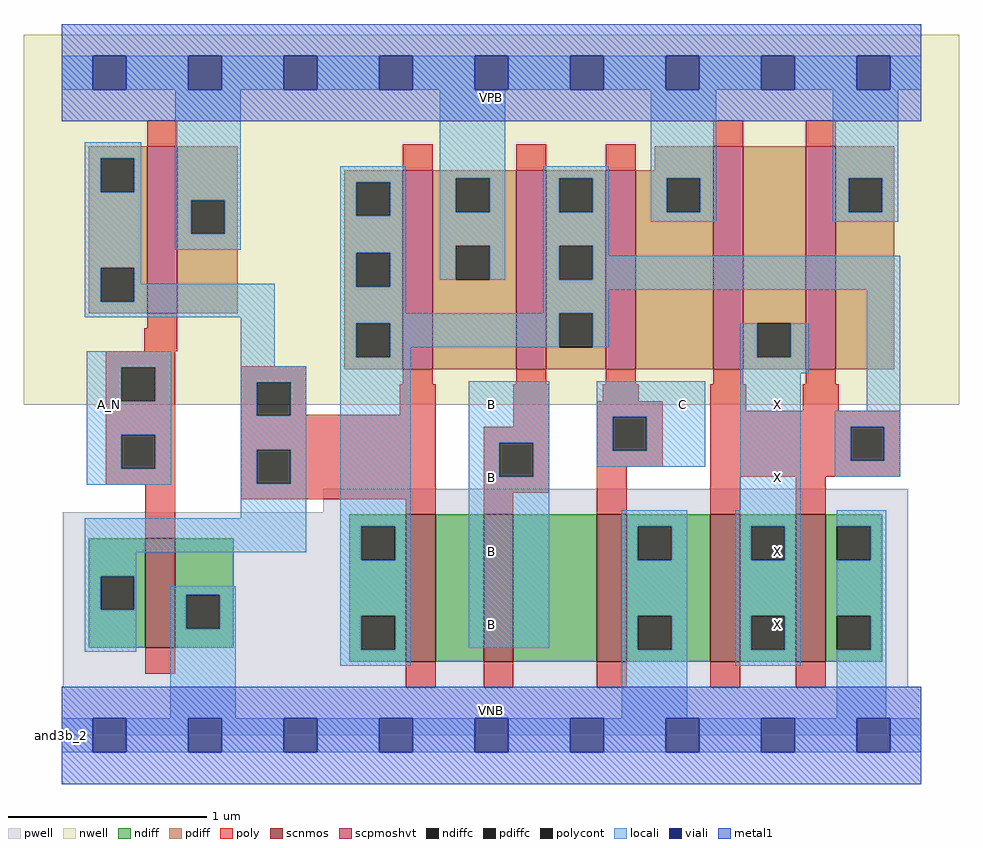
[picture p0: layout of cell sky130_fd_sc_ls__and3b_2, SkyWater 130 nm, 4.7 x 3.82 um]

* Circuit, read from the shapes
.subckt sky130_fd_sc_ls__and3b_2 A_N B C VGND VNB VPB VPWR X
XM1 VGND A_N n1 VNB sky130_fd_pr__nfet_01v8 w=0.55 l=0.15
XM2 n2 n1 n3 VNB sky130_fd_pr__nfet_01v8 w=0.74 l=0.15
XM3 n4 B n2 VNB sky130_fd_pr__nfet_01v8 w=0.74 l=0.15
XM4 VGND C n4 VNB sky130_fd_pr__nfet_01v8 w=0.74 l=0.15
XM5 X n3 VGND VNB sky130_fd_pr__nfet_01v8 w=0.74 l=0.15 m=2
XM6 VPWR A_N n1 VPB sky130_fd_pr__pfet_01v8_hvt w=0.84 l=0.15
XM7 VPWR n1 n3 VPB sky130_fd_pr__pfet_01v8_hvt w=1 l=0.15
XM8 n3 B VPWR VPB sky130_fd_pr__pfet_01v8_hvt w=1 l=0.15
XM9 VPWR C n3 VPB sky130_fd_pr__pfet_01v8_hvt w=1 l=0.15
XM10 X n3 VPWR VPB sky130_fd_pr__pfet_01v8_hvt w=1.12 l=0.15 m=2
.ends

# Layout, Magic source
magic
tech sky130A
magscale 1 2
<< nwell >>
rect -38 332 902 704
<< pwell >>
rect 263 224 851 248
rect 1 49 851 224
rect 0 0 864 49
<< scnmos >>
rect 84 88 114 198
rect 346 74 376 222
rect 424 74 454 222
rect 538 74 568 222
rect 652 74 682 222
rect 738 74 768 222
<< scpmoshvt >>
rect 86 424 116 592
rect 343 368 373 568
rect 457 368 487 568
rect 547 368 577 568
rect 655 368 685 592
rect 748 368 778 592
<< ndiff >>
rect 289 210 346 222
rect 27 160 84 198
rect 27 126 39 160
rect 73 126 84 160
rect 27 88 84 126
rect 114 141 173 198
rect 114 107 125 141
rect 159 107 173 141
rect 114 88 173 107
rect 289 176 301 210
rect 335 176 346 210
rect 289 120 346 176
rect 289 86 301 120
rect 335 86 346 120
rect 289 74 346 86
rect 376 74 424 222
rect 454 74 538 222
rect 568 210 652 222
rect 568 176 579 210
rect 613 176 652 210
rect 568 120 652 176
rect 568 86 579 120
rect 613 86 652 120
rect 568 74 652 86
rect 682 210 738 222
rect 682 176 693 210
rect 727 176 738 210
rect 682 120 738 176
rect 682 86 693 120
rect 727 86 738 120
rect 682 74 738 86
rect 768 210 825 222
rect 768 176 779 210
rect 813 176 825 210
rect 768 120 825 176
rect 768 86 779 120
rect 813 86 825 120
rect 768 74 825 86
<< pdiff >>
rect 27 580 86 592
rect 27 546 39 580
rect 73 546 86 580
rect 27 470 86 546
rect 27 436 39 470
rect 73 436 86 470
rect 27 424 86 436
rect 116 538 177 592
rect 596 568 655 592
rect 116 504 130 538
rect 164 504 177 538
rect 116 424 177 504
rect 284 556 343 568
rect 284 522 296 556
rect 330 522 343 556
rect 284 485 343 522
rect 284 451 296 485
rect 330 451 343 485
rect 284 414 343 451
rect 284 380 296 414
rect 330 380 343 414
rect 284 368 343 380
rect 373 560 457 568
rect 373 526 396 560
rect 430 526 457 560
rect 373 492 457 526
rect 373 458 396 492
rect 430 458 457 492
rect 373 368 457 458
rect 487 560 547 568
rect 487 526 500 560
rect 534 526 547 560
rect 487 492 547 526
rect 487 458 500 492
rect 534 458 547 492
rect 487 424 547 458
rect 487 390 500 424
rect 534 390 547 424
rect 487 368 547 390
rect 577 560 655 568
rect 577 526 608 560
rect 642 526 655 560
rect 577 368 655 526
rect 685 414 748 592
rect 685 380 699 414
rect 733 380 748 414
rect 685 368 748 380
rect 778 560 837 592
rect 778 526 791 560
rect 825 526 837 560
rect 778 368 837 526
<< ndiffc >>
rect 39 126 73 160
rect 125 107 159 141
rect 301 176 335 210
rect 301 86 335 120
rect 579 176 613 210
rect 579 86 613 120
rect 693 176 727 210
rect 693 86 727 120
rect 779 176 813 210
rect 779 86 813 120
<< pdiffc >>
rect 39 546 73 580
rect 39 436 73 470
rect 130 504 164 538
rect 296 522 330 556
rect 296 451 330 485
rect 296 380 330 414
rect 396 526 430 560
rect 396 458 430 492
rect 500 526 534 560
rect 500 458 534 492
rect 500 390 534 424
rect 608 526 642 560
rect 699 380 733 414
rect 791 526 825 560
<< poly >>
rect 86 592 116 618
rect 343 568 373 594
rect 457 568 487 594
rect 547 568 577 594
rect 655 592 685 618
rect 748 592 778 618
rect 86 409 116 424
rect 83 386 116 409
rect 44 370 114 386
rect 44 336 60 370
rect 94 336 114 370
rect 44 302 114 336
rect 44 268 60 302
rect 94 268 114 302
rect 44 252 114 268
rect 84 198 114 252
rect 180 355 246 371
rect 180 321 196 355
rect 230 322 246 355
rect 343 353 373 368
rect 457 353 487 368
rect 547 353 577 368
rect 655 353 685 368
rect 748 353 778 368
rect 340 322 376 353
rect 230 321 376 322
rect 180 287 376 321
rect 454 310 490 353
rect 544 336 580 353
rect 180 253 196 287
rect 230 253 376 287
rect 180 237 376 253
rect 346 222 376 237
rect 424 294 490 310
rect 424 260 440 294
rect 474 260 490 294
rect 424 244 490 260
rect 538 320 604 336
rect 538 286 554 320
rect 588 286 604 320
rect 538 270 604 286
rect 652 326 688 353
rect 745 326 781 353
rect 652 310 843 326
rect 652 276 793 310
rect 827 276 843 310
rect 424 222 454 244
rect 538 222 568 270
rect 652 260 843 276
rect 652 222 682 260
rect 738 222 768 260
rect 84 62 114 88
rect 346 48 376 74
rect 424 48 454 74
rect 538 48 568 74
rect 652 48 682 74
rect 738 48 768 74
<< polycont >>
rect 60 336 94 370
rect 60 268 94 302
rect 196 321 230 355
rect 196 253 230 287
rect 440 260 474 294
rect 554 286 588 320
rect 793 276 827 310
<< locali >>
rect 0 649 31 683
rect 65 649 127 683
rect 161 649 223 683
rect 257 649 319 683
rect 353 649 415 683
rect 449 649 511 683
rect 545 649 607 683
rect 641 649 703 683
rect 737 649 799 683
rect 833 649 864 683
rect 23 580 80 596
rect 23 546 39 580
rect 73 546 80 580
rect 23 470 80 546
rect 114 538 180 649
rect 114 504 130 538
rect 164 504 180 538
rect 114 488 180 504
rect 280 556 346 572
rect 280 522 296 556
rect 330 522 346 556
rect 23 436 39 470
rect 73 454 80 470
rect 280 485 346 522
rect 73 436 214 454
rect 23 420 214 436
rect 25 370 110 386
rect 25 336 60 370
rect 94 336 110 370
rect 25 302 110 336
rect 25 268 60 302
rect 94 268 110 302
rect 25 252 110 268
rect 180 371 214 420
rect 280 451 296 485
rect 330 451 346 485
rect 380 560 446 649
rect 380 526 396 560
rect 430 526 446 560
rect 380 492 446 526
rect 380 458 396 492
rect 430 458 446 492
rect 484 560 550 572
rect 484 526 500 560
rect 534 526 550 560
rect 484 492 550 526
rect 592 560 658 649
rect 592 526 608 560
rect 642 526 658 560
rect 592 516 658 526
rect 775 560 841 649
rect 775 526 791 560
rect 825 526 841 560
rect 775 516 841 526
rect 484 458 500 492
rect 534 482 550 492
rect 534 458 843 482
rect 280 424 346 451
rect 484 448 843 458
rect 484 424 550 448
rect 280 414 500 424
rect 280 380 296 414
rect 330 390 500 414
rect 534 390 550 424
rect 330 380 351 390
rect 180 355 246 371
rect 180 321 196 355
rect 230 321 246 355
rect 180 287 246 321
rect 180 253 196 287
rect 230 253 246 287
rect 180 218 246 253
rect 23 184 246 218
rect 280 210 351 380
rect 682 380 699 414
rect 733 380 751 414
rect 682 364 751 380
rect 23 160 75 184
rect 23 126 39 160
rect 73 126 75 160
rect 280 176 301 210
rect 335 176 351 210
rect 23 84 75 126
rect 109 141 175 150
rect 109 107 125 141
rect 159 107 175 141
rect 109 17 175 107
rect 280 120 351 176
rect 280 86 301 120
rect 335 86 351 120
rect 409 294 490 356
rect 409 260 440 294
rect 474 260 490 294
rect 538 320 647 356
rect 538 286 554 320
rect 588 286 647 320
rect 538 270 647 286
rect 409 88 490 260
rect 682 226 743 364
rect 809 326 843 448
rect 777 310 843 326
rect 777 276 793 310
rect 827 276 843 310
rect 777 260 843 276
rect 563 210 629 226
rect 563 176 579 210
rect 613 176 629 210
rect 563 120 629 176
rect 280 70 351 86
rect 563 86 579 120
rect 613 86 629 120
rect 563 17 629 86
rect 677 210 743 226
rect 677 176 693 210
rect 727 176 743 210
rect 677 120 743 176
rect 677 86 693 120
rect 727 86 743 120
rect 677 70 743 86
rect 779 210 829 226
rect 813 176 829 210
rect 779 120 829 176
rect 813 86 829 120
rect 779 17 829 86
rect 0 -17 31 17
rect 65 -17 127 17
rect 161 -17 223 17
rect 257 -17 319 17
rect 353 -17 415 17
rect 449 -17 511 17
rect 545 -17 607 17
rect 641 -17 703 17
rect 737 -17 799 17
rect 833 -17 864 17
<< viali >>
rect 31 649 65 683
rect 127 649 161 683
rect 223 649 257 683
rect 319 649 353 683
rect 415 649 449 683
rect 511 649 545 683
rect 607 649 641 683
rect 703 649 737 683
rect 799 649 833 683
rect 31 -17 65 17
rect 127 -17 161 17
rect 223 -17 257 17
rect 319 -17 353 17
rect 415 -17 449 17
rect 511 -17 545 17
rect 607 -17 641 17
rect 703 -17 737 17
rect 799 -17 833 17
<< metal1 >>
rect 0 683 864 715
rect 0 649 31 683
rect 65 649 127 683
rect 161 649 223 683
rect 257 649 319 683
rect 353 649 415 683
rect 449 649 511 683
rect 545 649 607 683
rect 641 649 703 683
rect 737 649 799 683
rect 833 649 864 683
rect 0 617 864 649
rect 0 17 864 49
rect 0 -17 31 17
rect 65 -17 127 17
rect 161 -17 223 17
rect 257 -17 319 17
rect 353 -17 415 17
rect 449 -17 511 17
rect 545 -17 607 17
rect 641 -17 703 17
rect 737 -17 799 17
rect 833 -17 864 17
rect 0 -49 864 -17
<< labels >>
rlabel comment s 0 0 0 0 4 and3b_2
flabel pwell s 0 0 864 49 0 FreeSans 200 0 0 0 VNB
port 5 nsew ground bidirectional
flabel nwell s 0 617 864 666 0 FreeSans 200 0 0 0 VPB
port 6 nsew power bidirectional
flabel metal1 s 0 617 864 666 0 FreeSans 340 0 0 0 VPWR
port 7 nsew power bidirectional abutment
flabel metal1 s 0 0 864 49 0 FreeSans 340 0 0 0 VGND
port 4 nsew ground bidirectional abutment
flabel locali s 31 316 65 350 0 FreeSans 340 0 0 0 A_N
port 1 nsew signal input
flabel locali s 607 316 641 350 0 FreeSans 340 0 0 0 C
port 3 nsew signal input
flabel locali s 415 94 449 128 0 FreeSans 340 0 0 0 B
port 2 nsew signal input
flabel locali s 415 168 449 202 0 FreeSans 340 0 0 0 B
port 2 nsew signal input
flabel locali s 415 242 449 276 0 FreeSans 340 0 0 0 B
port 2 nsew signal input
flabel locali s 415 316 449 350 0 FreeSans 340 0 0 0 B
port 2 nsew signal input
flabel locali s 703 94 737 128 0 FreeSans 340 0 0 0 X
port 8 nsew signal output
flabel locali s 703 168 737 202 0 FreeSans 340 0 0 0 X
port 8 nsew signal output
flabel locali s 703 242 737 276 0 FreeSans 340 0 0 0 X
port 8 nsew signal output
flabel locali s 703 316 737 350 0 FreeSans 340 0 0 0 X
port 8 nsew signal output
<< properties >>
string LEFsite unit
string LEFclass CORE
string FIXED_BBOX 0 0 864 666
string GDS_FILE $PDKPATH/libs.ref/sky130_fd_sc_ls/gds/sky130_fd_sc_ls.gds
string LEFsymmetry X Y
string GDS_END 3301042
string GDS_START 3293302
<< end >>
